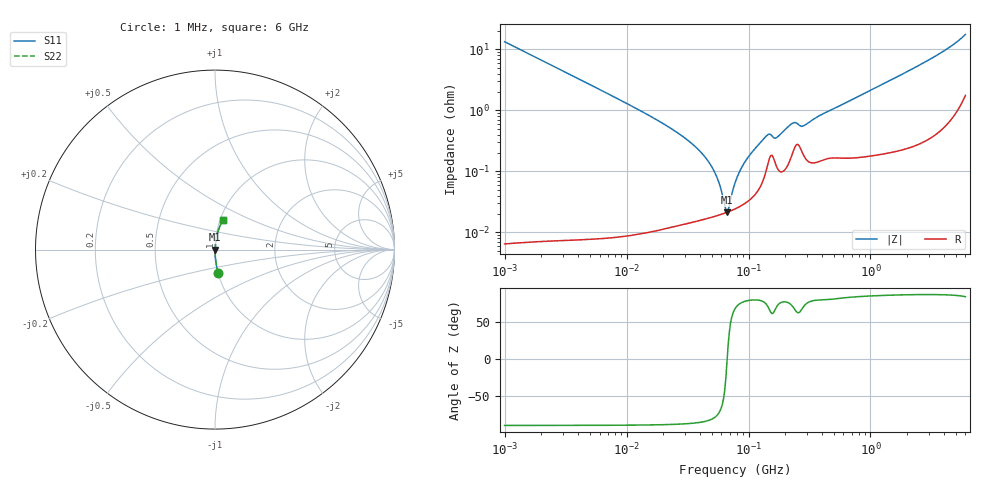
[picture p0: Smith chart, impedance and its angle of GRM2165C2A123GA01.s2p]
!Murata Part Number: GRM2165C2A123GA01
!These Parameters are Measured in Series Mode Connection
!Data Generated on Mar 30, 2021
!  o--ll--o
!Port1  Port2
!  o------o
!Operation Temp=25[degC], DC Bias Voltage=0[V]
!Freq. Start=1000[kHz] Stop=6[GHz] 401[Steps]
# Hz S RI R 50
!Freq.(Hz) S11(Real) S11(Imag) S21(Real) S21(Imag) S12(Real) S12(Imag) S22(Real) S22(Imag)
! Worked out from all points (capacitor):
!   401 points, 1 MHz to 6 GHz, reference 50 ohm
!   read as one part in series: C = 12 nF near 1.044 MHz
!   lowest |Z| = 21.3 mohm at 66.52 MHz (marker M1)
!   series resonance near 66.84 MHz, so ESL is about 470 pH
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1000000  0.0174 -0.1304  0.9826 0.1304  0.9826 0.1304  0.0174 -0.1304
4293785  0.00102 -0.0307  0.999 0.0307  0.999 0.0307  0.00102 -0.0307
1.843659e7  0.000152 -0.00662  0.9998 0.00662  0.9998 0.00662  0.000152 -0.00662
3.175522e7  0.00015 -0.00322  0.9999 0.00322  0.9999 0.00322  0.00015 -0.00322
4.497189e7  0.000169 -0.00161  0.9998 0.00161  0.9998 0.00161  0.000169 -0.00161
5.469524e7  0.000186 -0.0008  0.9998 0.0008  0.9998 0.0008  0.000186 -0.0008
5.838291e7  0.000194 -0.000539  0.9998 0.000539  0.9998 0.000539  0.000194 -0.000539
6.368941e7  0.000205 -0.000192  0.9998 0.000192  0.9998 0.000192  0.000205 -0.000192
6.652088e7  0.000212 -1.89e-05  0.9998 1.89e-05  0.9998 1.89e-05  0.000212 -1.89e-05
6.947823e7  0.000219 0.000155  0.9998 -0.000155  0.9998 -0.000155  0.000219 0.000155
7.745967e7  0.000241 0.000594  0.9998 -0.000594  0.9998 -0.000594  0.000241 0.000594
8.450008e7  0.000264 0.000955  0.9997 -0.000955  0.9997 -0.000955  0.000264 0.000955
9.420718e7  0.000302 0.00143  0.9997 -0.00143  0.9997 -0.00143  0.000302 0.00143
1.39348e8  0.00102 0.0036  0.999 -0.0036  0.999 -0.0036  0.00102 0.0036
1.487431e8  0.00165 0.00371  0.9984 -0.00371  0.9984 -0.00371  0.00165 0.00371
1.694764e8  0.00121 0.00332  0.9988 -0.00332  0.9988 -0.00332  0.00121 0.00332
2.297971e8  0.00201 0.00577  0.998 -0.00577  0.998 -0.00577  0.00201 0.00577
2.794814e8  0.00194 0.00514  0.9981 -0.00514  0.9981 -0.00514  0.00194 0.00514
3.325952e8  0.00141 0.00673  0.9986 -0.00673  0.9986 -0.00673  0.00141 0.00673
1.428092e9  0.00291 0.0301  0.9971 -0.0301  0.9971 -0.0301  0.00291 0.0301
3.5601e9  0.0107 0.0799  0.9893 -0.0799  0.9893 -0.0799  0.0107 0.0799
6e9  0.045 0.163  0.955 -0.163  0.955 -0.163  0.045 0.163
